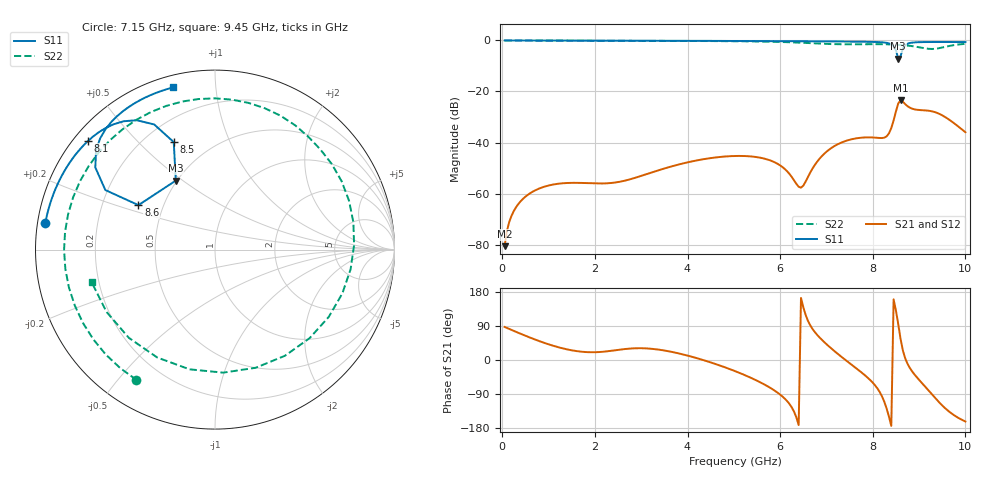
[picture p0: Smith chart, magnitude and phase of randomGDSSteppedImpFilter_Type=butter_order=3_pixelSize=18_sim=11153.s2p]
! freq	dB(S11)	phase(S11)	dB(S12)	phase(S12)
!  dB(S21)	phase(S21)	dB(S22)	phase(S22)
!S-par simulation data
#  GHz  S  DB  R 50
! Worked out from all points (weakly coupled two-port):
!   200 points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, 50 MHz to 10 GHz, reference 50 ohm
!   highest |S21| = -23.47 dB at 8.6 GHz (marker M1); lowest = -80.6 dB at 50 MHz (marker M2)
!   lowest |S11| = -7.1 dB at 8.55 GHz (marker M3), VSWR 2.59, Z = 24.6 + j23.6 ohm
!   |S11| at or under -10 dB: nowhere
!   |S22| runs from -3.3 to 0.0 dB; largest |S21 - S12| = 0
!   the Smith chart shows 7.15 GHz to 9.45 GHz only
!   S11 on the Smith chart (normalised r, x): 7.15 GHz: 0.02, +0.08; 8.1 GHz: 0.04, +0.37; 8.5 GHz: 0.31, +0.64; 8.6 GHz: 0.36, +0.24; 9.45 GHz: 0.06, +0.77
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0.05  -0.00 -1.4  -80.62 87.3  -80.62 87.3  -0.00 -3.9
0.2  -0.01 -5.8  -68.68 79.3  -68.68 79.3  -0.02 -15.7
0.5  -0.02 -14.4  -61.22 64.0  -61.22 64.0  -0.05 -38.5
1.1  -0.04 -31.4  -56.46 37.6  -56.46 37.6  -0.09 -80.3
1.75  -0.06 -49.4  -55.86 21.4  -55.86 21.4  -0.12 -118.2
3.4  -0.12 -93.0  -50.73 27.0  -50.73 27.0  -0.17 166.8
5.05  -0.20 -134.2  -45.27 -30.5  -45.27 -30.5  -0.30 90.3
6.1  -0.28 -160.6  -50.38 -102.0  -50.38 -102.0  -0.63 14.2
6.45  -0.31 -169.7  -57.69 163.8  -57.69 163.8  -0.88 -23.4
6.7  -0.33 -176.4  -50.17 81.7  -50.17 81.7  -1.10 -55.4
7.15  -0.38 171.0  -41.63 25.7  -41.63 25.7  -1.44 -121.1
7.6  -0.45 157.4  -38.50 -17.9  -38.50 -17.9  -1.50 173.4
8.1  -0.62 139.4  -38.16 -75.0  -38.16 -75.0  -1.46 108.7
8.35  -1.13 125.5  -36.41 -149.8  -36.41 -149.8  -1.53 77.2
8.5  -3.86 111.0  -27.83 130.5  -27.83 130.5  -1.68 57.2
8.55  -7.09 119.6  -24.70 94.6  -24.70 94.6  -1.77 50.4
8.6  -6.14 149.9  -23.47 55.7  -23.47 55.7  -1.83 43.5
8.9  -0.76 129.1  -26.99 -38.1  -26.99 -38.1  -2.34 -8.2
9.15  -0.62 116.9  -27.44 -73.0  -27.44 -73.0  -3.14 -70.9
9.45  -0.60 104.5  -28.88 -113.9  -28.88 -113.9  -2.96 -165.2
9.7  -0.61 94.6  -31.70 -141.0  -31.70 -141.0  -1.99 133.5
10  -0.62 82.9  -35.97 -162.2  -35.97 -162.2  -1.31 86.2
